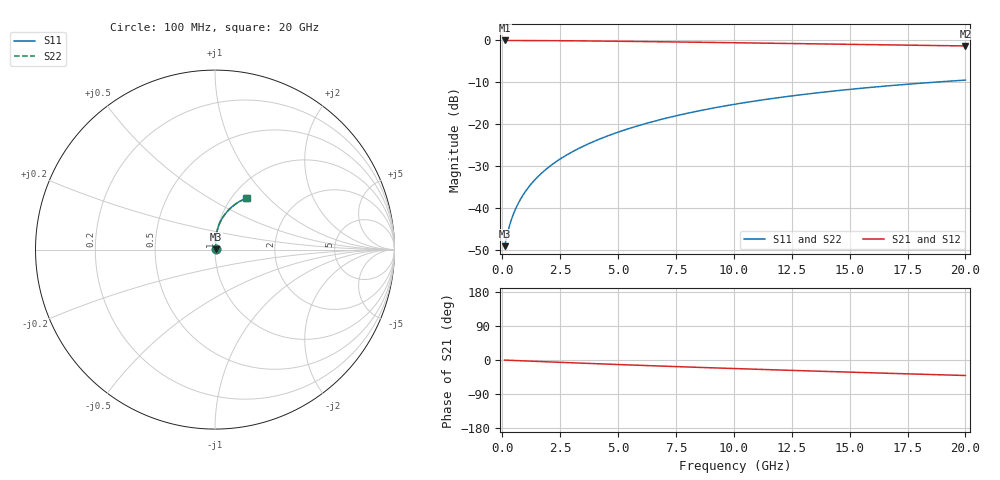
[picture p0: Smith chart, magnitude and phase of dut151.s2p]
! Touchstone file exported from HFSS 2024.1.0
!  File:  C:/UserFiles/LocalFiles/RDL_TSV_Batchsim/temp_RDL_top_151_1778685122.aedt
!  Generated:  11:14:03 PM May 13, 2026
!  Design:  RDL_top
!  Project:  temp_RDL_top_151_1778685122
!  Setup:  Setup1
!  Solution:  Sweep
! Variables:
!  dtsv = 10.80580581um
!  hbump = 3um
!  htsv = 74.46um
!  ldown = 100um
!  lrdl = 599.81um
!  p = 40
!  p1 = 47.11um
!  rhole = 1um
!  t = 450um
!  tdown = 3.915915916um
!  trdl = 3.18um
!  wdown = 15.38538539um
!  wrdl = 23.77um
# GHz S MA R 50.000000
! Terminal data exported
! Port[1] = Box2_T1
! Port[2] = Box2_T2
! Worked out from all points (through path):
!   200 points, 100 MHz to 20 GHz, reference 50 ohm
!   highest |S21| = -0.03 dB at 100 MHz (marker M1); lowest = -1.3 dB at 20 GHz (marker M2)
!   group delay of S21, straight-line fit = 5.63 ps
!   lowest |S11| = -49.1 dB at 100 MHz (marker M3), VSWR 1.01, Z = 50.3 + j0.176 ohm
!   |S11| at or under -10 dB: start of sweep to 18.61 GHz
!   |S22| runs from -49.1 to -9.5 dB; largest |S21 - S12| = 2.1e-15
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0.1  0.003516 29.9  0.9969 -0.3  0.9969 -0.3  0.003516 29.9
! Gamma 0 0 0 0
! Port Impedance 50 0 50 0
0.2  0.004687 46.8  0.9968 -0.5  0.9968 -0.5  0.004687 46.8
0.3  0.006028 55.9  0.9965 -0.8  0.9965 -0.8  0.006028 55.9
0.4  0.007394 61.5  0.9963 -1.0  0.9963 -1.0  0.007395 61.5
0.5  0.008766 65.4  0.9961 -1.3  0.9961 -1.3  0.008767 65.4
0.6  0.01015 68.5  0.9959 -1.5  0.9959 -1.5  0.01015 68.5
0.8  0.01295 72.8  0.9955 -2.0  0.9955 -2.0  0.01295 72.8
1  0.01581 75.8  0.9951 -2.5  0.9951 -2.5  0.01581 75.8
1.2  0.01871 77.9  0.9947 -3.0  0.9947 -3.0  0.01871 77.9
1.7  0.02616 81.3  0.9933 -4.2  0.9933 -4.2  0.02616 81.3
2.2  0.03383 83.2  0.9915 -5.4  0.9915 -5.4  0.03383 83.1
2.8  0.0433 84.4  0.9889 -6.9  0.9889 -6.9  0.04329 84.4
3.5  0.05471 85.1  0.9853 -8.5  0.9853 -8.5  0.0547 85.1
4.2  0.06651 85.2  0.9811 -10.2  0.9811 -10.2  0.06649 85.2
5  0.08042 84.9  0.9759 -12.0  0.9759 -12.0  0.08039 84.9
6.8  0.113 83.1  0.9626 -15.9  0.9626 -15.9  0.1129 83.0
8.4  0.1427 80.6  0.95 -19.3  0.95 -19.3  0.1426 80.5
10.1  0.1742 77.5  0.9363 -22.7  0.9363 -22.7  0.1741 77.5
11.7  0.2033 74.4  0.9233 -25.9  0.9233 -25.9  0.2032 74.4
13.4  0.2332 71.1  0.9096 -29.1  0.9096 -29.1  0.233 71.0
16.7  0.2875 64.6  0.8832 -35.1  0.8832 -35.1  0.2872 64.6
20  0.3359 58.5  0.8574 -40.9  0.8574 -40.9  0.3355 58.4
